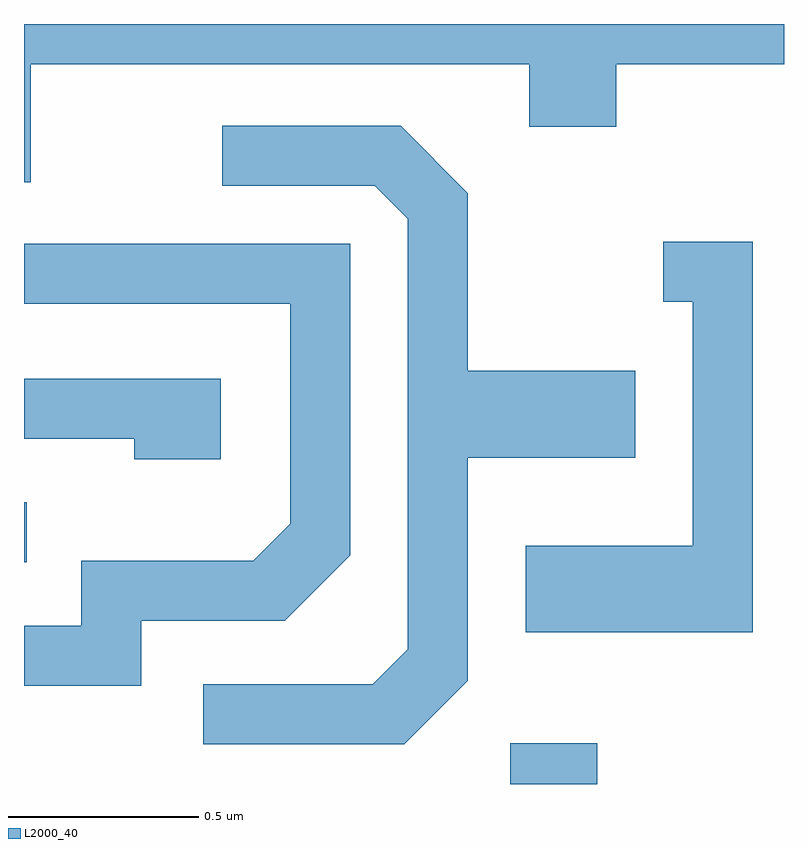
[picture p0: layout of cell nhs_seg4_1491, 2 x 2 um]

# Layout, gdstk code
import gdstk
lib = gdstk.Library(unit=1e-6, precision=1e-09)
def R(c, l, rs):  # rectangles x0, y0, x1, y1
    for r in rs: c.add(gdstk.rectangle(r[:2], r[2:], *l))
def P(c, l, *ps):  # polygons
    for p in ps: c.add(gdstk.Polygon(p, *l))
L2000_40 = (2000, 40)

nhs_seg4_1491 = lib.new_cell('nhs_seg4_1491')
R(nhs_seg4_1491, L2000_40, [(196.891,1374.982,197.119,1375.089), (195.611,1375.566,195.618,1375.724)])
P(nhs_seg4_1491, L2000_40, [(195.629,1376.876),(196.941,1376.876),(196.941,1376.711),(197.169,1376.711),(197.169,1376.876),(197.611,1376.876),(197.611,1376.982),(195.611,1376.982),(195.611,1376.566),(195.629,1376.566)],
  [(196.779,1375.254),(196.779,1375.841),(197.219,1375.841),(197.219,1376.069),(196.779,1376.069),(196.779,1376.537),(196.602,1376.714),(196.133,1376.714),(196.133,1376.556),(196.534,1376.556),(196.621,1376.469),(196.621,1375.337),(196.529,1375.244),(196.083,1375.244),(196.083,1375.086),(196.612,1375.086)],
  [(197.529,1376.409),(197.293,1376.409),(197.293,1376.251),(197.371,1376.251),(197.371,1375.609),(196.931,1375.609),(196.931,1375.381),(197.529,1375.381)],
  [(195.919,1375.411),(196.297,1375.411),(196.469,1375.584),(196.469,1376.404),(195.611,1376.404),(195.611,1376.246),(196.311,1376.246),(196.311,1375.667),(196.214,1375.569),(195.761,1375.569),(195.761,1375.399),(195.611,1375.399),(195.611,1375.241),(195.919,1375.241)],
  [(196.129,1376.049),(195.611,1376.049),(195.611,1375.891),(195.901,1375.891),(195.901,1375.836),(196.129,1375.836)])

lib.write_gds('nhs_seg4_1491.gds')
